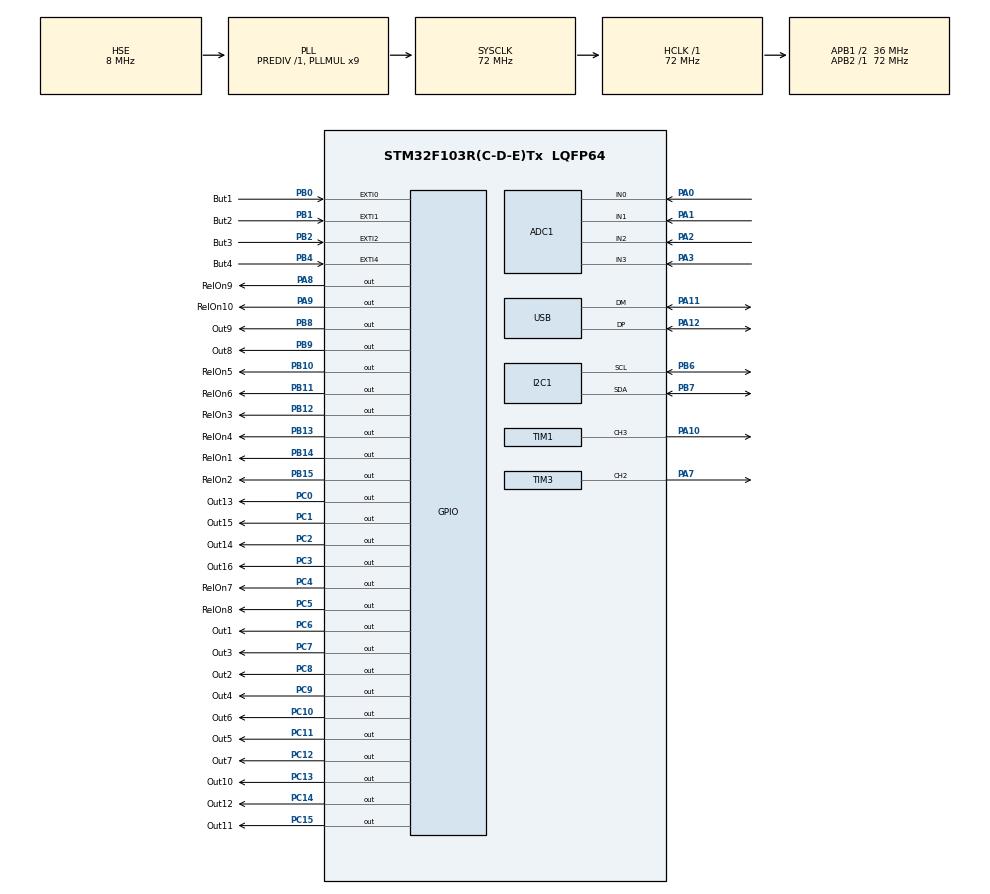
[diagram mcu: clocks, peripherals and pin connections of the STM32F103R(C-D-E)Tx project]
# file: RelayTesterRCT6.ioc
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ADC1.Channel-29\#ChannelRegularConversion=ADC_CHANNEL_0
ADC1.Channel-30\#ChannelRegularConversion=ADC_CHANNEL_1
ADC1.Channel-31\#ChannelRegularConversion=ADC_CHANNEL_2
ADC1.Channel-33\#ChannelRegularConversion=ADC_CHANNEL_3
ADC1.Channel-34\#ChannelRegularConversion=ADC_CHANNEL_TEMPSENSOR
ADC1.ContinuousConvMode=ENABLE
ADC1.DataAlign=ADC_DATAALIGN_RIGHT
ADC1.DiscontinuousConvMode=DISABLE
ADC1.EnableAnalogWatchDog=false
ADC1.EnableRegularConversion=ENABLE
ADC1.ExternalTrigConv=ADC_SOFTWARE_START
ADC1.InjNumberOfConversion=0
ADC1.NbrOfConversion=5
ADC1.NbrOfConversionFlag=1
ADC1.Rank-29\#ChannelRegularConversion=1
ADC1.Rank-30\#ChannelRegularConversion=2
ADC1.Rank-31\#ChannelRegularConversion=3
ADC1.Rank-33\#ChannelRegularConversion=4
ADC1.Rank-34\#ChannelRegularConversion=5
ADC1.SamplingTime-29\#ChannelRegularConversion=ADC_SAMPLETIME_28CYCLES_5
ADC1.SamplingTime-30\#ChannelRegularConversion=ADC_SAMPLETIME_28CYCLES_5
ADC1.SamplingTime-31\#ChannelRegularConversion=ADC_SAMPLETIME_28CYCLES_5
ADC1.SamplingTime-33\#ChannelRegularConversion=ADC_SAMPLETIME_28CYCLES_5
ADC1.SamplingTime-34\#ChannelRegularConversion=ADC_SAMPLETIME_28CYCLES_5
ADC1.ScanConvMode=ADC_SCAN_ENABLE
ADC1.master=1
Dma.ADC1.0.Direction=DMA_PERIPH_TO_MEMORY
Dma.ADC1.0.Instance=DMA1_Channel1
Dma.ADC1.0.MemDataAlignment=DMA_MDATAALIGN_WORD
Dma.ADC1.0.MemInc=DMA_MINC_ENABLE
Dma.ADC1.0.Mode=DMA_CIRCULAR
Dma.ADC1.0.PeriphDataAlignment=DMA_PDATAALIGN_WORD
Dma.ADC1.0.PeriphInc=DMA_PINC_DISABLE
Dma.ADC1.0.Priority=DMA_PRIORITY_LOW
Dma.Request0=ADC1
Mcu.Family=STM32F1
Mcu.Name=STM32F103R(C-D-E)Tx
Mcu.Package=LQFP64
NVIC.DMA1_Channel1_IRQn=true\:0\:0\:false\:false\:true\:false\:true
NVIC.EXTI0_IRQn=true\:0\:0\:false\:false\:true\:true\:true
NVIC.EXTI1_IRQn=true\:0\:0\:false\:false\:true\:true\:true
NVIC.EXTI2_IRQn=true\:0\:0\:false\:false\:true\:true\:true
NVIC.EXTI4_IRQn=true\:0\:0\:false\:false\:true\:true\:true
NVIC.PriorityGroup=NVIC_PRIORITYGROUP_4
NVIC.TIM6_IRQn=true\:0\:0\:false\:false\:true\:true\:true
NVIC.TIM7_IRQn=true\:0\:0\:false\:false\:true\:true\:true
NVIC.USB_LP_CAN1_RX0_IRQn=true\:0\:0\:false\:false\:true\:false\:true
PA0-WKUP.Signal=ADCx_IN0
PA1.Signal=ADCx_IN1
PA10.Signal=S_TIM1_CH3
PA11.Mode=Device
PA11.Signal=USB_DM
PA12.Mode=Device
PA12.Signal=USB_DP
PA13.Mode=Serial_Wire
PA13.Signal=SYS_JTMS-SWDIO
PA14.Mode=Serial_Wire
PA14.Signal=SYS_JTCK-SWCLK
PA2.Signal=ADCx_IN2
PA3.Signal=ADCx_IN3
PA7.Signal=S_TIM3_CH2
PA8.GPIO_Label=RelOn9
PA8.GPIO_ModeDefaultOutputPP=GPIO_MODE_OUTPUT_PP
PA8.Signal=GPIO_Output
PA9.GPIO_Label=RelOn10
PA9.Signal=GPIO_Output
PB0.GPIO_Label=But1
PB0.Signal=GPXTI0
PB1.GPIO_Label=But2
PB1.Signal=GPXTI1
PB10.GPIO_Label=RelOn5
PB10.Signal=GPIO_Output
PB11.GPIO_Label=RelOn6
PB11.Signal=GPIO_Output
PB12.GPIO_Label=RelOn3
PB12.Signal=GPIO_Output
PB13.GPIO_Label=RelOn4
PB13.Signal=GPIO_Output
PB14.GPIO_Label=RelOn1
PB14.Signal=GPIO_Output
PB15.GPIO_Label=RelOn2
PB15.Signal=GPIO_Output
PB2.GPIO_Label=But3
PB2.Signal=GPXTI2
PB4.GPIO_Label=But4
PB4.Signal=GPXTI4
PB6.Mode=I2C
PB6.Signal=I2C1_SCL
PB7.Mode=I2C
PB7.Signal=I2C1_SDA
PB8.GPIO_Label=Out9
PB8.GPIO_ModeDefaultOutputPP=GPIO_MODE_OUTPUT_PP
PB8.Signal=GPIO_Output
PB9.GPIO_Label=Out8
PB9.GPIO_ModeDefaultOutputPP=GPIO_MODE_OUTPUT_PP
PB9.Signal=GPIO_Output
PC0.GPIO_Label=Out13
PC0.GPIO_ModeDefaultOutputPP=GPIO_MODE_OUTPUT_PP
PC0.Signal=GPIO_Output
PC1.GPIO_Label=Out15
PC1.GPIO_ModeDefaultOutputPP=GPIO_MODE_OUTPUT_PP
PC1.Signal=GPIO_Output
PC10.GPIO_Label=Out6
PC10.GPIO_ModeDefaultOutputPP=GPIO_MODE_OUTPUT_PP
PC10.Signal=GPIO_Output
PC11.GPIO_Label=Out5
PC11.GPIO_ModeDefaultOutputPP=GPIO_MODE_OUTPUT_PP
PC11.Signal=GPIO_Output
PC12.GPIO_Label=Out7
PC12.GPIO_ModeDefaultOutputPP=GPIO_MODE_OUTPUT_PP
PC12.Signal=GPIO_Output
PC13-TAMPER-RTC.GPIO_Label=Out10
PC13-TAMPER-RTC.GPIO_ModeDefaultOutputPP=GPIO_MODE_OUTPUT_PP
PC13-TAMPER-RTC.Signal=GPIO_Output
PC14-OSC32_IN.GPIO_Label=Out12
PC14-OSC32_IN.GPIO_ModeDefaultOutputPP=GPIO_MODE_OUTPUT_PP
PC14-OSC32_IN.Signal=GPIO_Output
PC15-OSC32_OUT.GPIO_Label=Out11
PC15-OSC32_OUT.GPIO_ModeDefaultOutputPP=GPIO_MODE_OUTPUT_PP
PC15-OSC32_OUT.Signal=GPIO_Output
PC2.GPIO_Label=Out14
PC2.GPIO_ModeDefaultOutputPP=GPIO_MODE_OUTPUT_PP
PC2.Signal=GPIO_Output
PC3.GPIO_Label=Out16
PC3.GPIO_ModeDefaultOutputPP=GPIO_MODE_OUTPUT_PP
PC3.Signal=GPIO_Output
PC4.GPIO_Label=RelOn7
PC4.GPIO_ModeDefaultOutputPP=GPIO_MODE_OUTPUT_PP
PC4.Signal=GPIO_Output
PC5.GPIO_Label=RelOn8
PC5.Signal=GPIO_Output
PC6.GPIO_Label=Out1
PC6.GPIO_ModeDefaultOutputPP=GPIO_MODE_OUTPUT_PP
PC6.Signal=GPIO_Output
PC7.GPIO_Label=Out3
PC7.GPIO_ModeDefaultOutputPP=GPIO_MODE_OUTPUT_PP
PC7.Signal=GPIO_Output
PC8.GPIO_Label=Out2
PC8.GPIO_ModeDefaultOutputPP=GPIO_MODE_OUTPUT_PP
PC8.Signal=GPIO_Output
PC9.GPIO_Label=Out4
PC9.GPIO_ModeDefaultOutputPP=GPIO_MODE_OUTPUT_PP
PC9.Signal=GPIO_Output
PD0-OSC_IN.Mode=HSE-External-Oscillator
PD0-OSC_IN.Signal=RCC_OSC_IN
PD1-OSC_OUT.Mode=HSE-External-Oscillator
PD1-OSC_OUT.Signal=RCC_OSC_OUT
ProjectManager.HeapSize=0x1000
ProjectManager.StackSize=0x2000
ProjectManager.TargetToolchain=STM32CubeIDE
RCC.ADCPresc=RCC_ADCPCLK2_DIV6
RCC.AHBFreq_Value=72000000
RCC.APB1CLKDivider=RCC_HCLK_DIV2
RCC.APB1Freq_Value=36000000
RCC.APB1TimFreq_Value=72000000
RCC.APB2Freq_Value=72000000
RCC.APB2TimFreq_Value=72000000
RCC.HCLKFreq_Value=72000000
RCC.PLLMUL=RCC_PLL_MUL9
RCC.SYSCLKFreq_VALUE=72000000
RCC.SYSCLKSource=RCC_SYSCLKSOURCE_PLLCLK
RCC.USBFreq_Value=48000000
RCC.USBPrescaler=RCC_USBCLKSOURCE_PLL_DIV1_5
SH.ADCx_IN0.0=ADC1_IN0,IN0
SH.ADCx_IN1.0=ADC1_IN1,IN1
SH.ADCx_IN2.0=ADC1_IN2,IN2
SH.ADCx_IN3.0=ADC1_IN3,IN3
SH.S_TIM1_CH3.0=TIM1_CH3,PWM Generation3 CH3
SH.S_TIM3_CH2.0=TIM3_CH2,PWM Generation2 CH2
TIM1.Channel-PWM\ Generation3\ CH3=TIM_CHANNEL_3
TIM1.Period=720
TIM1.Prescaler=0
TIM3.Channel-PWM\ Generation2\ CH2=TIM_CHANNEL_2
TIM3.OCFastMode_PWM-PWM\ Generation2\ CH2=TIM_OCFAST_ENABLE
TIM3.Period=400
TIM3.Prescaler=0
TIM6.Period=2400
TIM6.Prescaler=60000
TIM6.TIM_MasterOutputTrigger=TIM_TRGO_UPDATE
TIM7.Period=72
USB_DEVICE.CLASS_NAME_FS=CDC
USB_DEVICE.VirtualMode=Cdc
USB_DEVICE.VirtualModeFS=Cdc_FS
VP_ADC1_TempSens_Input.Mode=IN-TempSens
VP_TIM6_VS_ClockSourceINT.Mode=Enable_Timer
VP_TIM7_VS_ClockSourceINT.Mode=Enable_Timer
VP_USB_DEVICE_VS_USB_DEVICE_CDC_FS.Mode=CDC_FS
board=custom

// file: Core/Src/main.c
/* USER CODE BEGIN Header */
/**
  ******************************************************************************
  * @file           : main.c
  * @brief          : Main program body
  ******************************************************************************
  * @attention
  *
  * <h2><center>&copy; Copyright (c) 2021 STMicroelectronics.
  * All rights reserved.</center></h2>
  *
  * This software component is licensed by ST under Ultimate Liberty license
  * SLA0044, the "License"; You may not use this file except in compliance with
  * the License. You may obtain a copy of the License at:
  *                             www.st.com/SLA0044
  *
  ******************************************************************************
  */
/* USER CODE END Header */
#include "main.h"
#include "usb_device.h"

/* USER CODE BEGIN Includes */
#include "usbd_cdc_if.h"
#include "itoc.h"
#include <math.h>
/* USER CODE END Includes */

ADC_HandleTypeDef hadc1;
DMA_HandleTypeDef hdma_adc1;

I2C_HandleTypeDef hi2c1;

TIM_HandleTypeDef htim1;
TIM_HandleTypeDef htim3;
TIM_HandleTypeDef htim6;
TIM_HandleTypeDef htim7;

/* USER CODE BEGIN PV */
/* Private variables ---------------------------------------------------------*/
uint8_t DataToSend[40];
uint8_t MessageCounter = 0;
uint8_t MessageLength = 0;

char ReceivedData[40];
uint8_t ReceivedDataFlag = 0;

_Bool TesterMode = 0; //tester mode - 0 = PC Mode
_Bool NormalTestFlag = 0; // =1, if normal test in progress
volatile _Bool timeOnMeasureMode; //1->measuring switch on time
volatile _Bool timeOffMeasureMode;//1->measuring switch off time

float CoilVoltage,PWMVoltage,DifVoltage,CurrentMeas;  //Measured values float
float CoilVoltageSetFl,PWMVoltageSetFl; 			  //Settings Value Float
float PrevCoilVoltageSetFl=0;
uint16_t PrevCoilVoltageSet=0;
uint16_t CoilVoltageSet,PWMVoltageSet; 				  //Settings Value
uint16_t CoilVoltageToSet,PWMVoltageToSet; 			  //Values to Set

uint32_t adc[5][101],adcbuffer[5];                    //adc - measured adc 0-4w data
float adcConverted[4],adcRaw[4];
uint32_t adcTemperature;
uint16_t min=5000,max=0;
volatile uint32_t countTime = 0;

uint8_t ssf = 10;
uint8_t sempIndex=0;

uint8_t selfCalibration=0;
uint8_t selfCalibCheck = 0;

uint32_t currTemp = 0; //delete it
uint32_t adcRawCurrent = 0;

int temperature = 0;
char Temp[18];
char LCDMessage[2][16],LCDMessageCurr[2][16];

/* USER CODE END PV */

void SystemClock_Config(void);
static void MX_GPIO_Init(void);
static void MX_DMA_Init(void);
static void MX_TIM3_Init(void);
static void MX_I2C1_Init(void);
static void MX_TIM6_Init(void);
static void MX_ADC1_Init(void);
static void MX_TIM1_Init(void);
static void MX_TIM7_Init(void);
/* USER CODE BEGIN PFP */
/* Private function prototypes -----------------------------------------------*/
uint8_t StrCmp (char* Buf,char* cmpBuf);
void AllOff(void);
void ReadADC(void);
float StrToFloat(char* Buf);
uint16_t StrToInt(char* Buf);
void DioOn(uint8_t DioNum);
void RelOn(uint8_t RelNum);
void DioOff(uint8_t DioNum);
void RelOff(uint8_t RelNum);
void ConvertData(void);
void sampleCurrent (void);

uint32_t OnLimit =2950; //if current from ADC < OnLimit -> relay is ON
uint32_t OffLimit=2950; //if current from ADC > OnLimit -> relay is OFF

/* USER CODE END PFP */

/* USER CODE BEGIN 0 */
void HAL_ADC_ConvCpltCallback(ADC_HandleTypeDef* hadc)
{
	for(int i=0;i<=3;i++)
		{
		adc[i][sempIndex]=adcbuffer[i];
		}
	sempIndex++;
  if (sempIndex==100)
	 {
		adcTemperature=adcbuffer[4];
		sempIndex=0;
	 }
}

/* USER CODE END 0 */

int main(void)
{

  /* MCU Configuration--------------------------------------------------------*/

  /* Reset of all peripherals, Initializes the Flash interface and the Systick. */
  HAL_Init();

  /* Configure the system clock */
  SystemClock_Config();

  /* USER CODE BEGIN SysInit */
	__HAL_RCC_I2C1_CLK_ENABLE();
	HAL_Delay(100);
	__HAL_RCC_I2C1_FORCE_RESET();
	HAL_Delay(100);
	__HAL_RCC_I2C1_RELEASE_RESET();
	HAL_Delay(100);
  /* USER CODE END SysInit */

  /* Initialize all configured peripherals */
  MX_GPIO_Init();
  MX_DMA_Init();
  MX_USB_DEVICE_Init();
  MX_TIM3_Init();
  MX_I2C1_Init();
  MX_TIM6_Init();
  MX_ADC1_Init();
  MX_TIM1_Init();
  MX_TIM7_Init();
  /* USER CODE BEGIN 2 */
	HAL_TIM_PWM_Start(&htim3,TIM_CHANNEL_2);
	__HAL_TIM_SET_COMPARE(&htim3,TIM_CHANNEL_2,32);

	HAL_TIM_PWM_Start(&htim1,TIM_CHANNEL_3);
	__HAL_TIM_SET_COMPARE(&htim1,TIM_CHANNEL_3,0);  //350 - 13,5V if Power sourse 15V

	HAL_TIM_Base_Start(&htim6);
	HAL_TIM_Base_Start_IT(&htim6);

	LCDInit(0x40);
	HAL_Delay(100);

	LCDPrint("  Relay Tester  ");
	SecString();
	LCDPrint("    Rev: 2.0    ");
	HAL_Delay(1500);
	FirstString();
	LCDPrint("  Designed by:  ");
	SecString();
	LCDPrint("Ivan  Perehiniak");
	HAL_Delay(1000);
	//LCDClear();

	HAL_ADC_Start_DMA(&hadc1,adcbuffer,5);

  /* USER CODE END 2 */

  /* Infinite loop */
  /* USER CODE BEGIN WHILE */
  while (1)
  {
	  		if(ReceivedDataFlag == 1 && selfCalibration!=1)//&& NormalTestFlag == 0
		{
				__HAL_TIM_SET_COUNTER(&htim6,0);
			  if((StrCmp(ReceivedData,"$")>0 || StrCmp(ReceivedData,"@")>0) && StrCmp(ReceivedData,"$AllOFF")==0)
					{
					sprintf(LCDMessage[0],"Test in progress");
					}
				if(StrCmp(ReceivedData,"Who are you")>0)
					{
					sprintf(LCDMessage[0],"  Wrong PC App  ");
					TesterMode = 1;
					}
				if(StrCmp(ReceivedData,"WhoAreYou")>0)
					{
					CDC_Transmit_String("I am Tester,Relay Tester");
					TesterMode = 1;
					}
				else if(StrCmp(ReceivedData,"Are you alive")>0)
					{
					TesterMode = 1;
					CDC_Transmit_String("Yes,I feel good");
					}
				else if(StrCmp(ReceivedData,"$SetCoilVoltage")>0)
					{
					CoilVoltageSetFl = StrToFloat(ReceivedData);
					if (CoilVoltageSetFl == PrevCoilVoltageSetFl)
						{
						CoilVoltageSet = PrevCoilVoltageSet;
						TesterMode = 1;
						__HAL_TIM_SET_COMPARE(&htim1,TIM_CHANNEL_3,CoilVoltageSet);
						CDC_Transmit_String("$SetCoilVoltageOK");
						}
						else
						{
						CoilVoltageSet = CoilVoltageSetFl*15;            // 25 - index, need to be changed
						__HAL_TIM_SET_COMPARE(&htim1,TIM_CHANNEL_3,CoilVoltageSet);
						selfCalibration = 1;
						HAL_Delay(250);
						}
					}
				else if(StrCmp(ReceivedData,"$SetRelCurrent")>0)
					{
					PWMVoltageSetFl = StrToFloat(ReceivedData);      // current, not voltage
					PWMVoltageSet = PWMVoltageSetFl*26*PWMVoltageSetFl;            // 145 - index, need to be changed
					__HAL_TIM_SET_COMPARE(&htim3,TIM_CHANNEL_2,PWMVoltageSet);
					CDC_Transmit_String("$SetRelCurrentOK");
					}
				else if(StrCmp(ReceivedData,"$DIOON")>0)
					{
					DioOn(StrToInt(ReceivedData));
					sprintf(Temp,"$DIOON%u", StrToInt(ReceivedData));
					CDC_Transmit_String(Temp);
					}
				else if(StrCmp(ReceivedData,"$RelON")>0)
					{
					RelOn(StrToInt(ReceivedData));
					sprintf(Temp,"$RelOn%u", StrToInt(ReceivedData));
					CDC_Transmit_String(Temp);
					}
				else if(StrCmp(ReceivedData,"$DIOOFF")>0)
					{
					DioOff(StrToInt(ReceivedData));
					sprintf(Temp,"$DIOOFF%u", StrToInt(ReceivedData));
					CDC_Transmit_String(Temp);
					}
				else if(StrCmp(ReceivedData,"$RelOFF")>0)
					{
					RelOff(StrToInt(ReceivedData));
					sprintf(Temp,"$RelOff%u", StrToInt(ReceivedData));
					CDC_Transmit_String(Temp);
					}
				else if(StrCmp(ReceivedData,"@GetCurrentOFF")>0)
					{
					ConvertData();
					sprintf(Temp,"@CurrentOFF%.*f",4, adcConverted[3]);
					CDC_Transmit_String(Temp);
					}
				else if(StrCmp(ReceivedData,"@GetVoltageOFF")>0)
					{
					ConvertData();
					sprintf(Temp,"@VoltageOFF%.*f",4, adcConverted[2]);
					CDC_Transmit_String(Temp);
					}
				else if(StrCmp(ReceivedData,"@GetCurrentON")>0)
					{
					ConvertData();
					sprintf(Temp,"@CurrentON%.*f",4, adcConverted[3]);
					CDC_Transmit_String(Temp);
					}
				else if(StrCmp(ReceivedData,"@GetVoltageON")>0)
					{
					ConvertData();
					sprintf(Temp,"@VoltageON%.*f",4, adcConverted[2]);
					CDC_Transmit_String(Temp);
					}
				else if(StrCmp(ReceivedData,"@RelTimeON")>0) //turn rel ON and measure time
					{
					sampleCurrent();
					countTime = 0;
					RelOn(StrToInt(ReceivedData));
					for(uint32_t i =0; i < 10000 ; i++)
						{
							if(adcRawCurrent<OnLimit)
							{
								countTime=i;
								i = 10000;
							}
							else sampleCurrent();
						}
					if (adcRawCurrent<OnLimit)sprintf(Temp,"@RelTimeON%lu",countTime);
					else sprintf(Temp,"@RelTimeON%lu",adcRawCurrent+10001);
					CDC_Transmit_String(Temp);
					countTime = 0;
					}
			 else if(StrCmp(ReceivedData,"@RelTimeOFF")>0) //turn rel ON and measure time
					{
					sampleCurrent();
					countTime = 0;
					RelOff(StrToInt(ReceivedData));
					for(uint32_t i =0; i < 10000 ; i++)
						{
							if(adcRawCurrent>OffLimit)
							{
								countTime=i;
								i = 10000;
							}
							else sampleCurrent();
						}
					if (adcRawCurrent>OffLimit)sprintf(Temp,"@RelTimeOFF%lu",countTime);
					else sprintf(Temp,"@RelTimeOFF%lu",adcRawCurrent+10001);
					CDC_Transmit_String(Temp);
					countTime = 0;
					}
				else if(StrCmp(ReceivedData,"$AllOFF")>0)   // Turn All DIO OFF, Relays after last step
					{
					AllOff();
					sprintf(LCDMessage[0]," Test completed ");
					}

			ReceivedDataFlag = 0;
				}

	if (selfCalibration == 1)
	{
		sprintf(LCDMessage[0],"Self Calibration");
		sprintf(LCDMessage[1],"Coil Volt.=%.*f",2, adcConverted[0]);
		if ((adcConverted[0]-1) >= CoilVoltageSetFl && CoilVoltageSet > 16)
		{
		selfCalibCheck = 0;
		CoilVoltageSet -= 9;
		__HAL_TIM_SET_COMPARE(&htim1,TIM_CHANNEL_3,CoilVoltageSet);
		}
		else if ((adcConverted[0]+1) <= CoilVoltageSetFl && CoilVoltageSet < 450)
		{
		selfCalibCheck = 0;
		CoilVoltageSet += 10;
		__HAL_TIM_SET_COMPARE(&htim1,TIM_CHANNEL_3,CoilVoltageSet);
		}
		else if ((adcConverted[0]-0.15) >= CoilVoltageSetFl && CoilVoltageSet > 8)
		{
		selfCalibCheck = 0;
		CoilVoltageSet -= 1;
		__HAL_TIM_SET_COMPARE(&htim1,TIM_CHANNEL_3,CoilVoltageSet);
		}
		else if ((adcConverted[0]+0.05 ) <= CoilVoltageSetFl && CoilVoltageSet < 450)
		{
		selfCalibCheck = 0;
		CoilVoltageSet += 2;
		__HAL_TIM_SET_COMPARE(&htim1,TIM_CHANNEL_3,CoilVoltageSet);
		}else if (adcConverted[0] >= (CoilVoltageSetFl - 0.06) && adcConverted[0] <= (CoilVoltageSetFl+0.16))
		{
		selfCalibCheck++;
		if(selfCalibCheck == 15)
			{
			selfCalibCheck = 0;
			TesterMode = 1;
			__HAL_TIM_SET_COMPARE(&htim1,TIM_CHANNEL_3,CoilVoltageSet);
			CDC_Transmit_String("$SetCoilVoltageOK");
			PrevCoilVoltageSet = CoilVoltageSet;
			PrevCoilVoltageSetFl = CoilVoltageSetFl;
			selfCalibration = 0;
			}
		}
	}

	if(TesterMode == 0 || StrCmp(ReceivedData,"$SetRelCurrent"))
	{
		ConvertData();
		FirstString();
		LCDPrint(LCDMessage[0]);
		SecString();
		LCDPrint(LCDMessage[1]);

		HAL_Delay(50);
	}
}

    /* USER CODE END WHILE */

}

void SystemClock_Config(void)
{
  RCC_OscInitTypeDef RCC_OscInitStruct = {0};
  RCC_ClkInitTypeDef RCC_ClkInitStruct = {0};
  RCC_PeriphCLKInitTypeDef PeriphClkInit = {0};

  /** Initializes the RCC Oscillators according to the specified parameters
  * in the RCC_OscInitTypeDef structure.
  */
  RCC_OscInitStruct.OscillatorType = RCC_OSCILLATORTYPE_HSE;
  RCC_OscInitStruct.HSEState = RCC_HSE_ON;
  RCC_OscInitStruct.HSEPredivValue = RCC_HSE_PREDIV_DIV1;
  RCC_OscInitStruct.HSIState = RCC_HSI_ON;
  RCC_OscInitStruct.PLL.PLLState = RCC_PLL_ON;
  RCC_OscInitStruct.PLL.PLLSource = RCC_PLLSOURCE_HSE;
  RCC_OscInitStruct.PLL.PLLMUL = RCC_PLL_MUL9;
  if (HAL_RCC_OscConfig(&RCC_OscInitStruct) != HAL_OK)
  {
    Error_Handler();
  }
  /** Initializes the CPU, AHB and APB buses clocks
  */
  RCC_ClkInitStruct.ClockType = RCC_CLOCKTYPE_HCLK|RCC_CLOCKTYPE_SYSCLK
                              |RCC_CLOCKTYPE_PCLK1|RCC_CLOCKTYPE_PCLK2;
  RCC_ClkInitStruct.SYSCLKSource = RCC_SYSCLKSOURCE_PLLCLK;
  RCC_ClkInitStruct.AHBCLKDivider = RCC_SYSCLK_DIV1;
  RCC_ClkInitStruct.APB1CLKDivider = RCC_HCLK_DIV2;
  RCC_ClkInitStruct.APB2CLKDivider = RCC_HCLK_DIV1;

  if (HAL_RCC_ClockConfig(&RCC_ClkInitStruct, FLASH_LATENCY_2) != HAL_OK)
  {
    Error_Handler();
  }
  PeriphClkInit.PeriphClockSelection = RCC_PERIPHCLK_ADC|RCC_PERIPHCLK_USB;
  PeriphClkInit.AdcClockSelection = RCC_ADCPCLK2_DIV6;
  PeriphClkInit.UsbClockSelection = RCC_USBCLKSOURCE_PLL_DIV1_5;
  if (HAL_RCCEx_PeriphCLKConfig(&PeriphClkInit) != HAL_OK)
  {
    Error_Handler();
  }
}

static void MX_ADC1_Init(void)
{

  ADC_ChannelConfTypeDef sConfig = {0};

  /** Common config
  */
  hadc1.Instance = ADC1;
  hadc1.Init.ScanConvMode = ADC_SCAN_ENABLE;
  hadc1.Init.ContinuousConvMode = ENABLE;
  hadc1.Init.DiscontinuousConvMode = DISABLE;
  hadc1.Init.ExternalTrigConv = ADC_SOFTWARE_START;
  hadc1.Init.DataAlign = ADC_DATAALIGN_RIGHT;
  hadc1.Init.NbrOfConversion = 5;
  if (HAL_ADC_Init(&hadc1) != HAL_OK)
  {
    Error_Handler();
  }
  /** Configure Regular Channel
  */
  sConfig.Channel = ADC_CHANNEL_0;
  sConfig.Rank = ADC_REGULAR_RANK_1;
  sConfig.SamplingTime = ADC_SAMPLETIME_28CYCLES_5;
  if (HAL_ADC_ConfigChannel(&hadc1, &sConfig) != HAL_OK)
  {
    Error_Handler();
  }
  /** Configure Regular Channel
  */
  sConfig.Channel = ADC_CHANNEL_1;
  sConfig.Rank = ADC_REGULAR_RANK_2;
  if (HAL_ADC_ConfigChannel(&hadc1, &sConfig) != HAL_OK)
  {
    Error_Handler();
  }
  /** Configure Regular Channel
  */
  sConfig.Channel = ADC_CHANNEL_2;
  sConfig.Rank = ADC_REGULAR_RANK_3;
  if (HAL_ADC_ConfigChannel(&hadc1, &sConfig) != HAL_OK)
  {
    Error_Handler();
  }
  /** Configure Regular Channel
  */
  sConfig.Channel = ADC_CHANNEL_3;
  sConfig.Rank = ADC_REGULAR_RANK_4;
  if (HAL_ADC_ConfigChannel(&hadc1, &sConfig) != HAL_OK)
  {
    Error_Handler();
  }
  /** Configure Regular Channel
  */
  sConfig.Channel = ADC_CHANNEL_TEMPSENSOR;
  sConfig.Rank = ADC_REGULAR_RANK_5;
  if (HAL_ADC_ConfigChannel(&hadc1, &sConfig) != HAL_OK)
  {
    Error_Handler();
  }

}

static void MX_I2C1_Init(void)
{

  hi2c1.Instance = I2C1;
  hi2c1.Init.ClockSpeed = 100000;
  hi2c1.Init.DutyCycle = I2C_DUTYCYCLE_2;
  hi2c1.Init.OwnAddress1 = 0;
  hi2c1.Init.AddressingMode = I2C_ADDRESSINGMODE_7BIT;
  hi2c1.Init.DualAddressMode = I2C_DUALADDRESS_DISABLE;
  hi2c1.Init.OwnAddress2 = 0;
  hi2c1.Init.GeneralCallMode = I2C_GENERALCALL_DISABLE;
  hi2c1.Init.NoStretchMode = I2C_NOSTRETCH_DISABLE;
  if (HAL_I2C_Init(&hi2c1) != HAL_OK)
  {
    Error_Handler();
  }

}

static void MX_TIM1_Init(void)
{

  TIM_MasterConfigTypeDef sMasterConfig = {0};
  TIM_OC_InitTypeDef sConfigOC = {0};
  TIM_BreakDeadTimeConfigTypeDef sBreakDeadTimeConfig = {0};

  htim1.Instance = TIM1;
  htim1.Init.Prescaler = 0;
  htim1.Init.CounterMode = TIM_COUNTERMODE_UP;
  htim1.Init.Period = 720;
  htim1.Init.ClockDivision = TIM_CLOCKDIVISION_DIV1;
  htim1.Init.RepetitionCounter = 0;
  htim1.Init.AutoReloadPreload = TIM_AUTORELOAD_PRELOAD_DISABLE;
  if (HAL_TIM_PWM_Init(&htim1) != HAL_OK)
  {
    Error_Handler();
  }
  sMasterConfig.MasterOutputTrigger = TIM_TRGO_RESET;
  sMasterConfig.MasterSlaveMode = TIM_MASTERSLAVEMODE_DISABLE;
  if (HAL_TIMEx_MasterConfigSynchronization(&htim1, &sMasterConfig) != HAL_OK)
  {
    Error_Handler();
  }
  sConfigOC.OCMode = TIM_OCMODE_PWM1;
  sConfigOC.Pulse = 0;
  sConfigOC.OCPolarity = TIM_OCPOLARITY_HIGH;
  sConfigOC.OCNPolarity = TIM_OCNPOLARITY_HIGH;
  sConfigOC.OCFastMode = TIM_OCFAST_DISABLE;
  sConfigOC.OCIdleState = TIM_OCIDLESTATE_RESET;
  sConfigOC.OCNIdleState = TIM_OCNIDLESTATE_RESET;
  if (HAL_TIM_PWM_ConfigChannel(&htim1, &sConfigOC, TIM_CHANNEL_3) != HAL_OK)
  {
    Error_Handler();
  }
  sBreakDeadTimeConfig.OffStateRunMode = TIM_OSSR_DISABLE;
  sBreakDeadTimeConfig.OffStateIDLEMode = TIM_OSSI_DISABLE;
  sBreakDeadTimeConfig.LockLevel = TIM_LOCKLEVEL_OFF;
  sBreakDeadTimeConfig.DeadTime = 0;
  sBreakDeadTimeConfig.BreakState = TIM_BREAK_DISABLE;
  sBreakDeadTimeConfig.BreakPolarity = TIM_BREAKPOLARITY_HIGH;
  sBreakDeadTimeConfig.AutomaticOutput = TIM_AUTOMATICOUTPUT_DISABLE;
  if (HAL_TIMEx_ConfigBreakDeadTime(&htim1, &sBreakDeadTimeConfig) != HAL_OK)
  {
    Error_Handler();
  }
  HAL_TIM_MspPostInit(&htim1);

}

static void MX_TIM3_Init(void)
{

  TIM_MasterConfigTypeDef sMasterConfig = {0};
  TIM_OC_InitTypeDef sConfigOC = {0};

  htim3.Instance = TIM3;
  htim3.Init.Prescaler = 0;
  htim3.Init.CounterMode = TIM_COUNTERMODE_UP;
  htim3.Init.Period = 400;
  htim3.Init.ClockDivision = TIM_CLOCKDIVISION_DIV1;
  htim3.Init.AutoReloadPreload = TIM_AUTORELOAD_PRELOAD_DISABLE;
  if (HAL_TIM_PWM_Init(&htim3) != HAL_OK)
  {
    Error_Handler();
  }
  sMasterConfig.MasterOutputTrigger = TIM_TRGO_RESET;
  sMasterConfig.MasterSlaveMode = TIM_MASTERSLAVEMODE_DISABLE;
  if (HAL_TIMEx_MasterConfigSynchronization(&htim3, &sMasterConfig) != HAL_OK)
  {
    Error_Handler();
  }
  sConfigOC.OCMode = TIM_OCMODE_PWM1;
  sConfigOC.Pulse = 0;
  sConfigOC.OCPolarity = TIM_OCPOLARITY_HIGH;
  sConfigOC.OCFastMode = TIM_OCFAST_ENABLE;
  if (HAL_TIM_PWM_ConfigChannel(&htim3, &sConfigOC, TIM_CHANNEL_2) != HAL_OK)
  {
    Error_Handler();
  }
  HAL_TIM_MspPostInit(&htim3);

}

static void MX_TIM6_Init(void)
{

  TIM_MasterConfigTypeDef sMasterConfig = {0};

  htim6.Instance = TIM6;
  htim6.Init.Prescaler = 60000;
  htim6.Init.CounterMode = TIM_COUNTERMODE_UP;
  htim6.Init.Period = 2400;
  htim6.Init.AutoReloadPreload = TIM_AUTORELOAD_PRELOAD_DISABLE;
  if (HAL_TIM_Base_Init(&htim6) != HAL_OK)
  {
    Error_Handler();
  }
  sMasterConfig.MasterOutputTrigger = TIM_TRGO_UPDATE;
  sMasterConfig.MasterSlaveMode = TIM_MASTERSLAVEMODE_DISABLE;
  if (HAL_TIMEx_MasterConfigSynchronization(&htim6, &sMasterConfig) != HAL_OK)
  {
    Error_Handler();
  }

}

static void MX_TIM7_Init(void)
{

  TIM_MasterConfigTypeDef sMasterConfig = {0};

  htim7.Instance = TIM7;
  htim7.Init.Prescaler = 0;
  htim7.Init.CounterMode = TIM_COUNTERMODE_UP;
  htim7.Init.Period = 72;
  htim7.Init.AutoReloadPreload = TIM_AUTORELOAD_PRELOAD_DISABLE;
  if (HAL_TIM_Base_Init(&htim7) != HAL_OK)
  {
    Error_Handler();
  }
  sMasterConfig.MasterOutputTrigger = TIM_TRGO_RESET;
  sMasterConfig.MasterSlaveMode = TIM_MASTERSLAVEMODE_DISABLE;
  if (HAL_TIMEx_MasterConfigSynchronization(&htim7, &sMasterConfig) != HAL_OK)
  {
    Error_Handler();
  }

}

static void MX_DMA_Init(void)
{

  /* DMA controller clock enable */
  __HAL_RCC_DMA1_CLK_ENABLE();

  /* DMA interrupt init */
  /* DMA1_Channel1_IRQn interrupt configuration */
  HAL_NVIC_SetPriority(DMA1_Channel1_IRQn, 0, 0);
  HAL_NVIC_EnableIRQ(DMA1_Channel1_IRQn);

}

static void MX_GPIO_Init(void)
{
  GPIO_InitTypeDef GPIO_InitStruct = {0};

  /* GPIO Ports Clock Enable */
  __HAL_RCC_GPIOC_CLK_ENABLE();
  __HAL_RCC_GPIOD_CLK_ENABLE();
  __HAL_RCC_GPIOA_CLK_ENABLE();
  __HAL_RCC_GPIOB_CLK_ENABLE();

  /*Configure GPIO pin Output Level */
  HAL_GPIO_WritePin(GPIOC, Out10_Pin|Out12_Pin|Out11_Pin|Out13_Pin
                          |Out15_Pin|Out14_Pin|Out16_Pin|RelOn7_Pin
                          |RelOn8_Pin|Out1_Pin|Out3_Pin|Out2_Pin
                          |Out4_Pin|Out6_Pin|Out5_Pin|Out7_Pin, GPIO_PIN_RESET);

  /*Configure GPIO pin Output Level */
  HAL_GPIO_WritePin(GPIOB, RelOn5_Pin|RelOn6_Pin|RelOn3_Pin|RelOn4_Pin
                          |RelOn1_Pin|RelOn2_Pin|Out9_Pin|Out8_Pin, GPIO_PIN_RESET);

  /*Configure GPIO pin Output Level */
  HAL_GPIO_WritePin(GPIOA, RelOn9_Pin|RelOn10_Pin, GPIO_PIN_RESET);

  /*Configure GPIO pins : Out10_Pin Out12_Pin Out11_Pin Out13_Pin
                           Out15_Pin Out14_Pin Out16_Pin RelOn7_Pin
                           RelOn8_Pin Out1_Pin Out3_Pin Out2_Pin
                           Out4_Pin Out6_Pin Out5_Pin Out7_Pin */
  GPIO_InitStruct.Pin = Out10_Pin|Out12_Pin|Out11_Pin|Out13_Pin
                          |Out15_Pin|Out14_Pin|Out16_Pin|RelOn7_Pin
                          |RelOn8_Pin|Out1_Pin|Out3_Pin|Out2_Pin
                          |Out4_Pin|Out6_Pin|Out5_Pin|Out7_Pin;
  GPIO_InitStruct.Mode = GPIO_MODE_OUTPUT_PP;
  GPIO_InitStruct.Pull = GPIO_NOPULL;
  GPIO_InitStruct.Speed = GPIO_SPEED_FREQ_LOW;
  HAL_GPIO_Init(GPIOC, &GPIO_InitStruct);

  /*Configure GPIO pins : But1_Pin But2_Pin But3_Pin But4_Pin */
  GPIO_InitStruct.Pin = But1_Pin|But2_Pin|But3_Pin|But4_Pin;
  GPIO_InitStruct.Mode = GPIO_MODE_IT_RISING;
  GPIO_InitStruct.Pull = GPIO_NOPULL;
  HAL_GPIO_Init(GPIOB, &GPIO_InitStruct);

  /*Configure GPIO pins : RelOn5_Pin RelOn6_Pin RelOn3_Pin RelOn4_Pin
                           RelOn1_Pin RelOn2_Pin Out9_Pin Out8_Pin */
  GPIO_InitStruct.Pin = RelOn5_Pin|RelOn6_Pin|RelOn3_Pin|RelOn4_Pin
                          |RelOn1_Pin|RelOn2_Pin|Out9_Pin|Out8_Pin;
  GPIO_InitStruct.Mode = GPIO_MODE_OUTPUT_PP;
  GPIO_InitStruct.Pull = GPIO_NOPULL;
  GPIO_InitStruct.Speed = GPIO_SPEED_FREQ_LOW;
  HAL_GPIO_Init(GPIOB, &GPIO_InitStruct);

  /*Configure GPIO pins : RelOn9_Pin RelOn10_Pin */
  GPIO_InitStruct.Pin = RelOn9_Pin|RelOn10_Pin;
  GPIO_InitStruct.Mode = GPIO_MODE_OUTPUT_PP;
  GPIO_InitStruct.Pull = GPIO_NOPULL;
  GPIO_InitStruct.Speed = GPIO_SPEED_FREQ_LOW;
  HAL_GPIO_Init(GPIOA, &GPIO_InitStruct);

  /* EXTI interrupt init*/
  HAL_NVIC_SetPriority(EXTI0_IRQn, 0, 0);
  HAL_NVIC_EnableIRQ(EXTI0_IRQn);

  HAL_NVIC_SetPriority(EXTI1_IRQn, 0, 0);
  HAL_NVIC_EnableIRQ(EXTI1_IRQn);

  HAL_NVIC_SetPriority(EXTI2_IRQn, 0, 0);
  HAL_NVIC_EnableIRQ(EXTI2_IRQn);

  HAL_NVIC_SetPriority(EXTI4_IRQn, 0, 0);
  HAL_NVIC_EnableIRQ(EXTI4_IRQn);

}

/* USER CODE BEGIN 4 */

uint16_t StrToInt(char* Buf)
{
char IntMas[10] = {"0123456789"};
uint16_t Len = strlen(Buf);
uint32_t TempInt = 0;
for(uint16_t i = 0; i<Len;i++)
{
	for(uint8_t j = 0; j<10;j++)
	{
		if (Buf[i] == IntMas[j])
		{
		TempInt = (TempInt*10)+j;
		break;
		}
	}
}
return TempInt;
}

float StrToFloat(char* Buf)
{
char IntMas[10] = {"0123456789"};
uint16_t Len = strlen(Buf);
float TempInt = 0;
uint8_t dotIndex = 0;

for(uint16_t i = 0; i<Len;i++)
{
	if (Buf[i] == '.' || Buf[i] == ',')
	{
	dotIndex = 1;
	i++;
	}
	for(uint8_t j = 0; j<10;j++)
	{
		if (Buf[i] == IntMas[j]&& dotIndex == 0)
		{
		TempInt = (TempInt*10)+j;
		break;
		}else if (Buf[i] == IntMas[j]&& dotIndex > 0)
		{
		TempInt = (pow(0.1, dotIndex)*j)+TempInt;
		dotIndex++;
		break;
		}
	}
}
return TempInt;
}

uint8_t StrCmp (char* Buf,char* cmpBuf)
{
	uint8_t Len = strlen(cmpBuf);
	for(int i=0;i<Len;i++)
		{
			if (Buf[i]!=cmpBuf[i])
				{
					return 0;
				}
		}
	return 1;
}

void AllOff(void)
{
DioOff(200);
RelOff(200);
__HAL_TIM_SET_COMPARE(&htim1,TIM_CHANNEL_3,0);
}

void DioOn(uint8_t DioNum)
{
    switch (DioNum)
		{
			case 1:   HAL_GPIO_WritePin(GPIOC, Out2_Pin, GPIO_PIN_SET); break;
			case 2:   HAL_GPIO_WritePin(GPIOC, Out4_Pin, GPIO_PIN_SET); break;
			case 3:   HAL_GPIO_WritePin(GPIOC, Out1_Pin, GPIO_PIN_SET); break;
			case 4:   HAL_GPIO_WritePin(GPIOC, Out3_Pin, GPIO_PIN_SET); break;
			case 5:   HAL_GPIO_WritePin(GPIOC, Out6_Pin, GPIO_PIN_SET); break;
			case 6:   HAL_GPIO_WritePin(GPIOC, Out5_Pin, GPIO_PIN_SET); break;
			case 7:   HAL_GPIO_WritePin(GPIOC, Out7_Pin, GPIO_PIN_SET); break;
			case 8:   HAL_GPIO_WritePin(GPIOB, Out9_Pin, GPIO_PIN_SET); break;
			case 9:   HAL_GPIO_WritePin(GPIOB, Out8_Pin, GPIO_PIN_SET); break;
			case 10:  HAL_GPIO_WritePin(GPIOC, Out10_Pin, GPIO_PIN_SET); break;
			case 11:  HAL_GPIO_WritePin(GPIOC, Out12_Pin, GPIO_PIN_SET); break;
			case 12:  HAL_GPIO_WritePin(GPIOC, Out11_Pin, GPIO_PIN_SET); break;
			case 13:  HAL_GPIO_WritePin(GPIOC, Out13_Pin, GPIO_PIN_SET); break;
			case 14:  HAL_GPIO_WritePin(GPIOC, Out15_Pin, GPIO_PIN_SET); break;
			case 15:  HAL_GPIO_WritePin(GPIOC, Out14_Pin, GPIO_PIN_SET); break;
			case 16:  HAL_GPIO_WritePin(GPIOC, Out16_Pin, GPIO_PIN_SET); break;
		}
}

void DioOff(uint8_t DioNum)
{
    switch (DioNum)
		{
			case 1:   HAL_GPIO_WritePin(GPIOC, Out2_Pin, GPIO_PIN_RESET); break;
			case 2:   HAL_GPIO_WritePin(GPIOC, Out4_Pin, GPIO_PIN_RESET); break;
			case 3:   HAL_GPIO_WritePin(GPIOC, Out1_Pin, GPIO_PIN_RESET); break;
			case 4:   HAL_GPIO_WritePin(GPIOC, Out3_Pin, GPIO_PIN_RESET); break;
			case 5:   HAL_GPIO_WritePin(GPIOC, Out6_Pin, GPIO_PIN_RESET); break;
			case 6:   HAL_GPIO_WritePin(GPIOC, Out5_Pin, GPIO_PIN_RESET); break;
			case 7:   HAL_GPIO_WritePin(GPIOC, Out7_Pin, GPIO_PIN_RESET); break;
			case 8:   HAL_GPIO_WritePin(GPIOB, Out9_Pin, GPIO_PIN_RESET); break;
			case 9:   HAL_GPIO_WritePin(GPIOB, Out8_Pin, GPIO_PIN_RESET); break;
			case 10:  HAL_GPIO_WritePin(GPIOC, Out10_Pin, GPIO_PIN_RESET); break;
			case 11:  HAL_GPIO_WritePin(GPIOC, Out12_Pin, GPIO_PIN_RESET); break;
			case 12:  HAL_GPIO_WritePin(GPIOC, Out11_Pin, GPIO_PIN_RESET); break;
			case 13:  HAL_GPIO_WritePin(GPIOC, Out13_Pin, GPIO_PIN_RESET); break;
			case 14:  HAL_GPIO_WritePin(GPIOC, Out15_Pin, GPIO_PIN_RESET); break;
			case 15:  HAL_GPIO_WritePin(GPIOC, Out14_Pin, GPIO_PIN_RESET); break;
			case 16:  HAL_GPIO_WritePin(GPIOC, Out16_Pin, GPIO_PIN_RESET); break;

			case 200: HAL_GPIO_WritePin(GPIOC, Out10_Pin|Out12_Pin|Out11_Pin|Out13_Pin // RESET ALL
                          |Out15_Pin|Out14_Pin|Out16_Pin|Out1_Pin|Out3_Pin|Out2_Pin
                          |Out4_Pin|Out6_Pin|Out5_Pin|Out7_Pin, GPIO_PIN_RESET);
								HAL_GPIO_WritePin(GPIOB, Out8_Pin|Out9_Pin, GPIO_PIN_RESET); break;
		}
}

void RelOn(uint8_t RelNum)
{
		switch (RelNum)
		{
			case 1:HAL_GPIO_WritePin(GPIOB, RelOn1_Pin, GPIO_PIN_SET); break;
			case 2:HAL_GPIO_WritePin(GPIOB, RelOn2_Pin, GPIO_PIN_SET); break;
			case 3:HAL_GPIO_WritePin(GPIOB, RelOn3_Pin, GPIO_PIN_SET); break;
			case 4:HAL_GPIO_WritePin(GPIOB, RelOn4_Pin, GPIO_PIN_SET); break;
			case 5:HAL_GPIO_WritePin(GPIOB, RelOn5_Pin, GPIO_PIN_SET); break;
			case 6:HAL_GPIO_WritePin(GPIOB, RelOn6_Pin, GPIO_PIN_SET); break;
			case 7:HAL_GPIO_WritePin(GPIOC, RelOn7_Pin, GPIO_PIN_SET); break;
			case 8:HAL_GPIO_WritePin(GPIOC, RelOn8_Pin, GPIO_PIN_SET); break;
			case 9:HAL_GPIO_WritePin(GPIOA, RelOn9_Pin, GPIO_PIN_SET); break;
			case 10:HAL_GPIO_WritePin(GPIOA, RelOn10_Pin, GPIO_PIN_SET); break;
		}
}

void RelOff(uint8_t RelNum)
{
		switch (RelNum)
		{
			case 1:HAL_GPIO_WritePin(GPIOB, RelOn1_Pin, GPIO_PIN_RESET); break;
			case 2:HAL_GPIO_WritePin(GPIOB, RelOn2_Pin, GPIO_PIN_RESET); break;
			case 3:HAL_GPIO_WritePin(GPIOB, RelOn3_Pin, GPIO_PIN_RESET); break;
			case 4:HAL_GPIO_WritePin(GPIOB, RelOn4_Pin, GPIO_PIN_RESET); break;
			case 5:HAL_GPIO_WritePin(GPIOB, RelOn5_Pin, GPIO_PIN_RESET); break;
			case 6:HAL_GPIO_WritePin(GPIOB, RelOn6_Pin, GPIO_PIN_RESET); break;
			case 7:HAL_GPIO_WritePin(GPIOC, RelOn7_Pin, GPIO_PIN_RESET); break;
			case 8:HAL_GPIO_WritePin(GPIOC, RelOn8_Pin, GPIO_PIN_RESET); break;
			case 9:HAL_GPIO_WritePin(GPIOA, RelOn9_Pin, GPIO_PIN_RESET); break;
			case 10:HAL_GPIO_WritePin(GPIOA, RelOn10_Pin, GPIO_PIN_RESET); break;

			case 200:HAL_GPIO_WritePin(GPIOB, RelOn5_Pin|RelOn6_Pin|RelOn3_Pin|RelOn4_Pin|RelOn1_Pin|RelOn2_Pin, GPIO_PIN_RESET);
							 HAL_GPIO_WritePin(GPIOC, RelOn7_Pin|RelOn8_Pin, GPIO_PIN_RESET);
							 HAL_GPIO_WritePin(GPIOA, RelOn9_Pin|RelOn10_Pin, GPIO_PIN_RESET);break;
		}
}

void ConvertData (void)
{
		adc[0][100]= adc[1][100]= adc[2][100]= adc[3][100]=0;

		for(uint8_t ind = 0; ind<100;ind++)
		 {
			adc[0][100]= adc[0][100]+adc[0][ind];
			adc[1][100]= adc[1][100]+adc[1][ind];
			adc[2][100]= adc[2][100]+adc[2][ind];
			adc[3][100]= adc[3][100]+adc[3][ind];
		 }
		adcRaw[0] = (adc[0][100]/100)+40;
		adcRaw[1] = (adc[1][100]/100)+40;
		adcRaw[2] = adc[2][100]/100;
		adcRaw[3] = adc[3][100]/100;

	if(adcRaw[2]>=2500)
	{
	adcConverted[2] = 9.0;
	}else
	{
	adcConverted[2] = adcRaw[2]/1240;
	}
	adcConverted[0] = adcRaw[0]/202;
	adcConverted[1] = adcRaw[1]/202;
	adcConverted[3] = ((3017-adcRaw[3])/230)-0.015;
}

void sampleCurrent (void)
{
	  uint32_t adcSum = 0;

		for(uint8_t ind = 0; ind<20;ind++)
		 {
			adcSum = adcSum+adc[3][ind*5];
		 }
		adcRawCurrent = adcSum/20;
}

/* USER CODE END 4 */

void Error_Handler(void)
{
  while(1)
  {
  }
}

/************************ (C) COPYRIGHT STMicroelectronics *****END OF FILE****/
